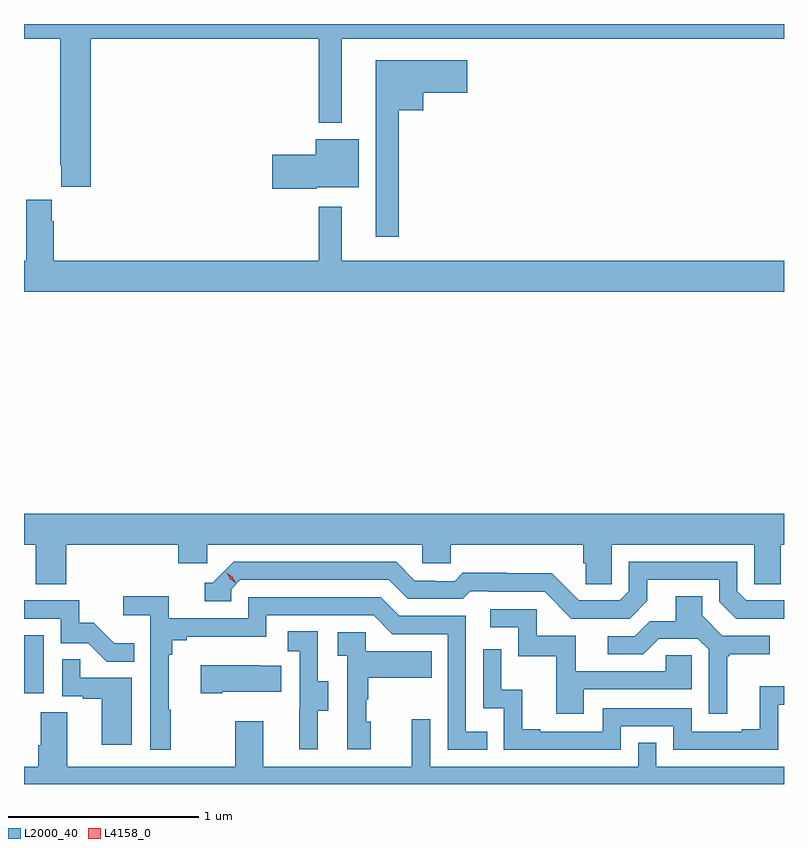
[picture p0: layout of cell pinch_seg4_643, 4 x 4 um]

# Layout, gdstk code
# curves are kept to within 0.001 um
import gdstk
lib = gdstk.Library(unit=1e-6, precision=1e-09)
def R(c, l, rs):  # rectangles x0, y0, x1, y1
    for r in rs: c.add(gdstk.rectangle(r[:2], r[2:], *l))
def P(c, l, *ps):  # polygons
    for p in ps: c.add(gdstk.Polygon(p, *l))
L2000_40 = (2000, 40)
L4158_0 = (4158, 0)

pinch_seg4_643 = lib.new_cell('pinch_seg4_643')
R(pinch_seg4_643, L2000_40, [(1070.696,766.734,1070.8,767.041)])
P(pinch_seg4_643, L2000_40, [(1071.047,770.18),(1072.248,770.18),(1072.248,769.736),(1072.369,769.736),(1072.369,770.18),(1074.696,770.18),(1074.696,770.257),(1070.696,770.257),(1070.696,770.18),(1070.887,770.18),(1070.887,769.513),(1070.893,769.513),(1070.893,769.401),(1071.047,769.401)],
  [(1072.669,769.802),(1072.798,769.802),(1072.798,769.895),(1073.029,769.895),(1073.029,770.065),(1072.547,770.065),(1072.547,769.137),(1072.669,769.137)],
  [(1072.236,769.397),(1072.459,769.397),(1072.459,769.651),(1072.232,769.651),(1072.232,769.568),(1072.002,769.568),(1072.002,769.39),(1072.236,769.39)],
  [(1074.696,769.012),(1072.369,769.012),(1072.369,769.294),(1072.248,769.294),(1072.248,769.012),(1070.852,769.012),(1070.852,769.22),(1070.842,769.22),(1070.842,769.333),(1070.708,769.333),(1070.708,769.012),(1070.696,769.012),(1070.696,768.848),(1074.696,768.848)],
  [(1070.918,767.516),(1071.509,767.516),(1071.509,767.418),(1071.66,767.418),(1071.66,767.516),(1072.791,767.516),(1072.791,767.418),(1072.941,767.418),(1072.941,767.516),(1073.639,767.516),(1073.639,767.418),(1073.653,767.418),(1073.653,767.308),(1073.79,767.308),(1073.79,767.516),(1074.54,767.516),(1074.54,767.308),(1074.679,767.308),(1074.679,767.516),(1074.696,767.516),(1074.696,767.68),(1070.696,767.68),(1070.696,767.516),(1070.758,767.516),(1070.758,767.308),(1070.918,767.308)],
  [(1074.696,767.223),(1074.498,767.223),(1074.45,767.271),(1074.45,767.427),(1073.88,767.427),(1073.88,767.271),(1073.832,767.223),(1073.616,767.223),(1073.474,767.365),(1073.238,767.365),(1073.238,767.368),(1073.005,767.368),(1072.963,767.325),(1072.86,767.325),(1072.86,767.328),(1072.753,767.328),(1072.654,767.427),(1071.801,767.427),(1071.69,767.316),(1071.647,767.316),(1071.647,767.22),(1071.786,767.22),(1071.786,767.283),(1071.834,767.331),(1072.617,767.331),(1072.716,767.232),(1073.005,767.232),(1073.044,767.271),(1073.143,767.271),(1073.143,767.268),(1073.436,767.268),(1073.577,767.127),(1073.883,767.127),(1073.977,767.221),(1073.977,767.331),(1074.354,767.331),(1074.354,767.217),(1074.444,767.127),(1074.696,767.126)],
  [(1074.397,766.929),(1074.409,766.929),(1074.409,766.94),(1074.622,766.94),(1074.622,767.037),(1074.372,767.037),(1074.265,767.144),(1074.265,767.246),(1074.125,767.246),(1074.125,767.114),(1073.99,767.114),(1073.91,767.034),(1073.769,767.034),(1073.769,766.941),(1073.956,766.941),(1074.037,767.022),(1074.243,767.022),(1074.3,766.965),(1074.3,766.626),(1074.397,766.626)],
  [(1071.469,766.649),(1071.457,766.649),(1071.457,766.937),(1071.476,766.937),(1071.476,767.014),(1071.553,767.014),(1071.553,767.033),(1071.972,767.033),(1071.972,767.145),(1072.536,767.145),(1072.635,767.046),(1072.926,767.046),(1072.926,766.437),(1073.135,766.437),(1073.135,766.533),(1073.022,766.533),(1073.022,767.142),(1072.672,767.142),(1072.573,767.241),(1071.876,767.241),(1071.876,767.13),(1071.458,767.13),(1071.458,767.246),(1071.219,767.246),(1071.219,767.144),(1071.36,767.144),(1071.36,766.437),(1071.469,766.437)],
  [(1071.275,766.999),(1071.171,766.999),(1071.064,767.106),(1070.988,767.106),(1070.988,767.223),(1070.696,767.223),(1070.696,767.127),(1070.889,767.127),(1070.889,766.998),(1071.033,766.998),(1071.131,766.9),(1071.275,766.9)],
  [(1073.641,766.755),(1074.21,766.755),(1074.21,766.935),(1074.073,766.935),(1074.073,766.851),(1073.599,766.851),(1073.599,767.037),(1073.394,767.037),(1073.394,767.178),(1073.151,767.178),(1073.151,767.082),(1073.298,767.082),(1073.298,766.929),(1073.497,766.929),(1073.497,766.626),(1073.641,766.626)],
  [(1072.243,766.642),(1072.297,766.642),(1072.297,766.797),(1072.242,766.797),(1072.242,767.06),(1072.083,767.06),(1072.083,766.957),(1072.146,766.957),(1072.146,766.653),(1072.145,766.653),(1072.145,766.44),(1072.243,766.44)],
  [(1072.522,766.584),(1072.497,766.584),(1072.497,766.703),(1072.507,766.703),(1072.507,766.817),(1072.841,766.817),(1072.841,766.957),(1072.494,766.957),(1072.494,767.055),(1072.347,767.055),(1072.347,766.931),(1072.398,766.931),(1072.398,766.44),(1072.522,766.44)],
  [(1073.838,766.56),(1074.114,766.56),(1074.114,766.437),(1074.666,766.437),(1074.666,766.673),(1074.696,766.673),(1074.696,766.771),(1074.569,766.771),(1074.569,766.546),(1074.473,766.546),(1074.473,766.533),(1074.21,766.533),(1074.21,766.656),(1073.742,766.656),(1073.742,766.533),(1073.413,766.533),(1073.413,766.546),(1073.318,766.546),(1073.318,766.754),(1073.208,766.754),(1073.208,766.966),(1073.112,766.966),(1073.112,766.656),(1073.22,766.656),(1073.22,766.437),(1073.838,766.437)],
  [(1071.262,766.815),(1070.993,766.815),(1070.993,766.913),(1070.898,766.913),(1070.898,766.719),(1071.005,766.719),(1071.005,766.707),(1071.104,766.707),(1071.104,766.464),(1071.262,766.464)],
  [(1071.739,766.742),(1072.049,766.742),(1072.049,766.879),(1071.941,766.879),(1071.941,766.882),(1071.627,766.882),(1071.627,766.735),(1071.739,766.735)],
  [(1074.696,766.348),(1074.024,766.348),(1074.024,766.475),(1073.928,766.475),(1073.928,766.348),(1072.833,766.348),(1072.833,766.597),(1072.736,766.597),(1072.736,766.348),(1071.955,766.348),(1071.955,766.588),(1071.808,766.588),(1071.808,766.348),(1070.923,766.348),(1070.923,766.634),(1070.783,766.634),(1070.783,766.46),(1070.771,766.46),(1070.771,766.348),(1070.696,766.348),(1070.696,766.257),(1074.696,766.257)])
P(pinch_seg4_643, L4158_0, [(1071.809,767.316),(1071.778,767.336),(1071.762,767.368),(1071.762,767.369),(1071.762,767.369),(1071.793,767.349),(1071.81,767.317),(1071.81,767.316)])

lib.write_gds('pinch_seg4_643.gds')
